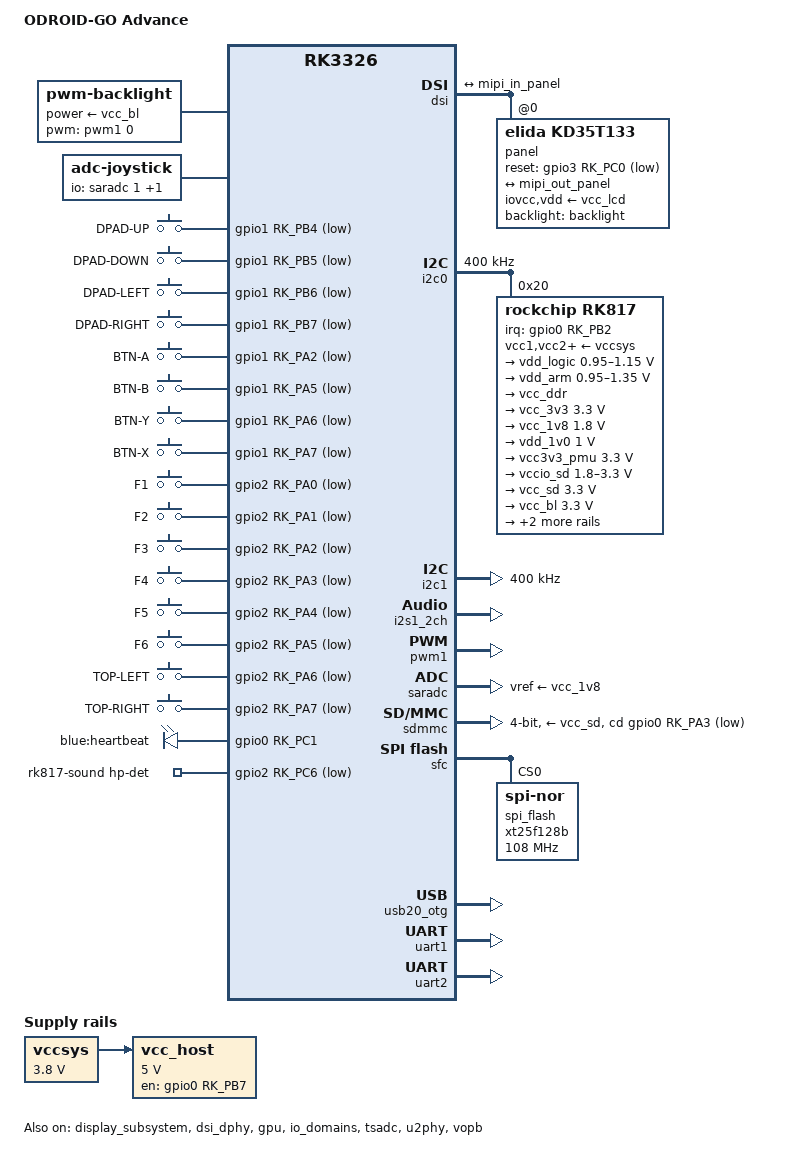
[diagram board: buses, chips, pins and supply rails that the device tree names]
// SPDX-License-Identifier: (GPL-2.0+ OR MIT)
/*
 * Copyright (c) 2019 Hardkernel Co., Ltd
 * Copyright (c) 2020 Theobroma Systems Design und Consulting GmbH
 */

/dts-v1/;
#include <dt-bindings/gpio/gpio.h>
#include <dt-bindings/input/input.h>
#include <dt-bindings/pinctrl/rockchip.h>
#include "rk3326.dtsi"

/ {
	model = "ODROID-GO Advance";
	compatible = "hardkernel,rk3326-odroid-go2", "rockchip,rk3326";

	chosen {
		stdout-path = "serial2:115200n8";
	};

	backlight: backlight {
		compatible = "pwm-backlight";
		power-supply = <&vcc_bl>;
		pwms = <&pwm1 0 25000 0>;
	};

	adc-joystick {
		compatible = "adc-joystick";
		io-channels = <&saradc 1>,
			      <&saradc 2>;
		#address-cells = <1>;
		#size-cells = <0>;

		axis@0 {
			reg = <0>;
			abs-range = <172 772>;
			abs-fuzz = <10>;
			abs-flat = <10>;
			linux,code = <ABS_X>;
		};

		axis@1 {
			reg = <1>;
			abs-range = <278 815>;
			abs-fuzz = <10>;
			abs-flat = <10>;
			linux,code = <ABS_Y>;
		};
	};

	gpio-keys {
		compatible = "gpio-keys";
		pinctrl-names = "default";
		pinctrl-0 = <&btn_pins>;

		/*
		 *      *** ODROIDGO2-Advance Switch layout ***
		 * |------------------------------------------------|
		 * | sw15                                      sw16 |
		 * |------------------------------------------------|
		 * |     sw1      |-------------------|      sw8    |
		 * |  sw3   sw4   |                   |   sw7   sw5 |
		 * |     sw2      |    LCD Display    |      sw6    |
		 * |              |                   |             |
		 * |              |-------------------|             |
		 * |         sw9 sw10   sw11 sw12   sw13 sw14       |
		 * |------------------------------------------------|
		 */

		sw1 {
			gpios = <&gpio1 RK_PB4 GPIO_ACTIVE_LOW>;
			label = "DPAD-UP";
			linux,code = <BTN_DPAD_UP>;
		};
		sw2 {
			gpios = <&gpio1 RK_PB5 GPIO_ACTIVE_LOW>;
			label = "DPAD-DOWN";
			linux,code = <BTN_DPAD_DOWN>;
		};
		sw3 {
			gpios = <&gpio1 RK_PB6 GPIO_ACTIVE_LOW>;
			label = "DPAD-LEFT";
			linux,code = <BTN_DPAD_LEFT>;
		};
		sw4 {
			gpios = <&gpio1 RK_PB7 GPIO_ACTIVE_LOW>;
			label = "DPAD-RIGHT";
			linux,code = <BTN_DPAD_RIGHT>;
		};
		sw5 {
			gpios = <&gpio1 RK_PA2 GPIO_ACTIVE_LOW>;
			label = "BTN-A";
			linux,code = <BTN_EAST>;
		};
		sw6 {
			gpios = <&gpio1 RK_PA5 GPIO_ACTIVE_LOW>;
			label = "BTN-B";
			linux,code = <BTN_SOUTH>;
		};
		sw7 {
			gpios = <&gpio1 RK_PA6 GPIO_ACTIVE_LOW>;
			label = "BTN-Y";
			linux,code = <BTN_WEST>;
		};
		sw8 {
			gpios = <&gpio1 RK_PA7 GPIO_ACTIVE_LOW>;
			label = "BTN-X";
			linux,code = <BTN_NORTH>;
		};
		sw9 {
			gpios = <&gpio2 RK_PA0 GPIO_ACTIVE_LOW>;
			label = "F1";
			linux,code = <BTN_TRIGGER_HAPPY1>;
		};
		sw10 {
			gpios = <&gpio2 RK_PA1 GPIO_ACTIVE_LOW>;
			label = "F2";
			linux,code = <BTN_TRIGGER_HAPPY2>;
		};
		sw11 {
			gpios = <&gpio2 RK_PA2 GPIO_ACTIVE_LOW>;
			label = "F3";
			linux,code = <BTN_TRIGGER_HAPPY3>;
		};
		sw12 {
			gpios = <&gpio2 RK_PA3 GPIO_ACTIVE_LOW>;
			label = "F4";
			linux,code = <BTN_TRIGGER_HAPPY4>;
		};
		sw13 {
			gpios = <&gpio2 RK_PA4 GPIO_ACTIVE_LOW>;
			label = "F5";
			linux,code = <BTN_TRIGGER_HAPPY5>;
		};
		sw14 {
			gpios = <&gpio2 RK_PA5 GPIO_ACTIVE_LOW>;
			label = "F6";
			linux,code = <BTN_TRIGGER_HAPPY6>;
		};
		sw15 {
			gpios = <&gpio2 RK_PA6 GPIO_ACTIVE_LOW>;
			label = "TOP-LEFT";
			linux,code = <BTN_TL>;
		};
		sw16 {
			gpios = <&gpio2 RK_PA7 GPIO_ACTIVE_LOW>;
			label = "TOP-RIGHT";
			linux,code = <BTN_TR>;
		};
	};

	leds: gpio-leds {
		compatible = "gpio-leds";
		pinctrl-names = "default";
		pinctrl-0 = <&blue_led_pin>;

		blue_led: led-0 {
			label = "blue:heartbeat";
			gpios = <&gpio0 RK_PC1 GPIO_ACTIVE_HIGH>;
			linux,default-trigger = "heartbeat";
		};
	};

	rk817-sound {
		compatible = "simple-audio-card";
		simple-audio-card,format = "i2s";
		simple-audio-card,name = "rockchip,rk817-codec";
		simple-audio-card,mclk-fs = <256>;
		simple-audio-card,widgets =
			"Microphone", "Mic Jack",
			"Headphone", "Headphone Jack";
		simple-audio-card,routing =
			"MIC_IN", "Mic Jack",
			"Headphone Jack", "HPOL",
			"Headphone Jack", "HPOR";
		simple-audio-card,hp-det-gpio = <&gpio2 RK_PC6 GPIO_ACTIVE_LOW>;
		simple-audio-card,codec-hp-det = <1>;

		simple-audio-card,cpu {
			sound-dai = <&i2s1_2ch>;
		};

		simple-audio-card,codec {
			sound-dai = <&rk817_codec>;
		};
	};

	vccsys: vccsys {
		compatible = "regulator-fixed";
		regulator-name = "vcc3v8_sys";
		regulator-always-on;
		regulator-min-microvolt = <3800000>;
		regulator-max-microvolt = <3800000>;
	};

	vcc_host: vcc_host {
		compatible = "regulator-fixed";
		regulator-name = "vcc_host";
		regulator-min-microvolt = <5000000>;
		regulator-max-microvolt = <5000000>;

		gpio = <&gpio0 RK_PB7 GPIO_ACTIVE_HIGH>;
		enable-active-high;
		regulator-always-on;
		vin-supply = <&vccsys>;
	};
};

&cpu0 {
	cpu-supply = <&vdd_arm>;
};

&cpu1 {
	cpu-supply = <&vdd_arm>;
};

&cpu2 {
	cpu-supply = <&vdd_arm>;
};

&cpu3 {
	cpu-supply = <&vdd_arm>;
};

&cru {
	assigned-clocks = <&cru PLL_NPLL>,
		<&cru ACLK_BUS_PRE>, <&cru ACLK_PERI_PRE>,
		<&cru HCLK_BUS_PRE>, <&cru HCLK_PERI_PRE>,
		<&cru PCLK_BUS_PRE>, <&cru SCLK_GPU>,
		<&cru PLL_CPLL>;

	assigned-clock-rates = <1188000000>,
		<200000000>, <200000000>,
		<150000000>, <150000000>,
		<100000000>, <200000000>,
		<17000000>;
};

&display_subsystem {
	status = "okay";
};

&dsi {
	status = "okay";

	ports {
		mipi_out: port@1 {
			reg = <1>;

			mipi_out_panel: endpoint {
				remote-endpoint = <&mipi_in_panel>;
			};
		};
	};

	panel@0 {
		compatible = "elida,kd35t133";
		reg = <0>;
		backlight = <&backlight>;
		iovcc-supply = <&vcc_lcd>;
		reset-gpios = <&gpio3 RK_PC0 GPIO_ACTIVE_LOW>;
		vdd-supply = <&vcc_lcd>;

		port {
			mipi_in_panel: endpoint {
				remote-endpoint = <&mipi_out_panel>;
			};
		};
	};
};

&dsi_dphy {
	status = "okay";
};

&gpu {
	mali-supply = <&vdd_logic>;
	status = "okay";
};

&i2c0 {
	clock-frequency = <400000>;
	i2c-scl-falling-time-ns = <16>;
	i2c-scl-rising-time-ns = <280>;
	status = "okay";

	rk817: pmic@20 {
		compatible = "rockchip,rk817";
		reg = <0x20>;
		interrupt-parent = <&gpio0>;
		interrupts = <RK_PB2 IRQ_TYPE_LEVEL_LOW>;
		pinctrl-names = "default", "pmic-sleep",
				"pmic-power-off", "pmic-reset";
		pinctrl-0 = <&pmic_int>;
		pinctrl-1 = <&soc_slppin_slp>, <&rk817_slppin_slp>;
		pinctrl-2 = <&soc_slppin_gpio>, <&rk817_slppin_pwrdn>;
		pinctrl-3 = <&soc_slppin_rst>, <&rk817_slppin_rst>;
		rockchip,system-power-controller;
		wakeup-source;
		#clock-cells = <1>;
		clock-output-names = "rk808-clkout1", "xin32k";

		vcc1-supply = <&vccsys>;
		vcc2-supply = <&vccsys>;
		vcc3-supply = <&vccsys>;
		vcc4-supply = <&vccsys>;
		vcc5-supply = <&vccsys>;
		vcc6-supply = <&vccsys>;
		vcc7-supply = <&vccsys>;

		pinctrl_rk8xx: pinctrl_rk8xx {
			gpio-controller;
			#gpio-cells = <2>;

			rk817_ts_gpio1: rk817_ts_gpio1 {
				pins = "gpio_ts";
				function = "pin_fun1";
				/* output-low; */
				/* input-enable; */
			};

			rk817_gt_gpio2: rk817_gt_gpio2 {
				pins = "gpio_gt";
				function = "pin_fun1";
			};

			rk817_pin_ts: rk817_pin_ts {
				pins = "gpio_ts";
				function = "pin_fun0";
			};

			rk817_pin_gt: rk817_pin_gt {
				pins = "gpio_gt";
				function = "pin_fun0";
			};

			rk817_slppin_null: rk817_slppin_null {
				pins = "gpio_slp";
				function = "pin_fun0";
			};

			rk817_slppin_slp: rk817_slppin_slp {
				pins = "gpio_slp";
				function = "pin_fun1";
			};

			rk817_slppin_pwrdn: rk817_slppin_pwrdn {
				pins = "gpio_slp";
				function = "pin_fun2";
			};

			rk817_slppin_rst: rk817_slppin_rst {
				pins = "gpio_slp";
				function = "pin_fun3";
			};
		};

		regulators {
			vdd_logic: DCDC_REG1 {
				regulator-name = "vdd_logic";
				regulator-min-microvolt = <950000>;
				regulator-max-microvolt = <1150000>;
				regulator-ramp-delay = <6001>;
				regulator-always-on;
				regulator-boot-on;

				regulator-state-mem {
					regulator-on-in-suspend;
					regulator-suspend-microvolt = <950000>;
				};
			};

			vdd_arm: DCDC_REG2 {
				regulator-name = "vdd_arm";
				regulator-min-microvolt = <950000>;
				regulator-max-microvolt = <1350000>;
				regulator-ramp-delay = <6001>;
				regulator-always-on;
				regulator-boot-on;

				regulator-state-mem {
					regulator-off-in-suspend;
					regulator-suspend-microvolt = <950000>;
				};
			};

			vcc_ddr: DCDC_REG3 {
				regulator-name = "vcc_ddr";
				regulator-always-on;
				regulator-boot-on;

				regulator-state-mem {
					regulator-on-in-suspend;
				};
			};

			vcc_3v3: DCDC_REG4 {
				regulator-name = "vcc_3v3";
				regulator-min-microvolt = <3300000>;
				regulator-max-microvolt = <3300000>;
				regulator-always-on;
				regulator-boot-on;

				regulator-state-mem {
					regulator-off-in-suspend;
					regulator-suspend-microvolt = <3300000>;
				};
			};

			vcc_1v8: LDO_REG2 {
				regulator-name = "vcc_1v8";
				regulator-min-microvolt = <1800000>;
				regulator-max-microvolt = <1800000>;
				regulator-always-on;
				regulator-boot-on;

				regulator-state-mem {
					regulator-on-in-suspend;
					regulator-suspend-microvolt = <1800000>;
				};
			};

			vdd_1v0: LDO_REG3 {
				regulator-name = "vdd_1v0";
				regulator-min-microvolt = <1000000>;
				regulator-max-microvolt = <1000000>;
				regulator-always-on;
				regulator-boot-on;

				regulator-state-mem {
					regulator-on-in-suspend;
					regulator-suspend-microvolt = <1000000>;
				};
			};

			vcc3v3_pmu: LDO_REG4 {
				regulator-name = "vcc3v3_pmu";
				regulator-min-microvolt = <3300000>;
				regulator-max-microvolt = <3300000>;
				regulator-always-on;
				regulator-boot-on;

				regulator-state-mem {
					regulator-on-in-suspend;
					regulator-suspend-microvolt = <3300000>;
				};
			};

			vccio_sd: LDO_REG5 {
				regulator-name = "vccio_sd";
				regulator-min-microvolt = <1800000>;
				regulator-max-microvolt = <3300000>;
				regulator-always-on;
				regulator-boot-on;

				regulator-state-mem {
					regulator-on-in-suspend;
					regulator-suspend-microvolt = <3300000>;
				};
			};

			vcc_sd: LDO_REG6 {
				regulator-name = "vcc_sd";
				regulator-min-microvolt = <3300000>;
				regulator-max-microvolt = <3300000>;
				regulator-boot-on;

				regulator-state-mem {
					regulator-on-in-suspend;
					regulator-suspend-microvolt = <3300000>;
				};
			};

			vcc_bl: LDO_REG7 {
				regulator-name = "vcc_bl";
				regulator-min-microvolt = <3300000>;
				regulator-max-microvolt = <3300000>;

				regulator-state-mem {
					regulator-off-in-suspend;
					regulator-suspend-microvolt = <3300000>;
				};
			};

			vcc_lcd: LDO_REG8 {
				regulator-name = "vcc_lcd";
				regulator-min-microvolt = <2800000>;
				regulator-max-microvolt = <2800000>;

				regulator-state-mem {
					regulator-off-in-suspend;
					regulator-suspend-microvolt = <2800000>;
				};
			};

			vcc_cam: LDO_REG9 {
				regulator-name = "vcc_cam";
				regulator-min-microvolt = <3000000>;
				regulator-max-microvolt = <3000000>;

				regulator-state-mem {
					regulator-off-in-suspend;
					regulator-suspend-microvolt = <3000000>;
				};
			};
		};

		battery {
			compatible = "rk817,battery";
			ocv_table = <3500 3625 3685 3697 3718 3735 3748
			3760 3774 3788 3802 3816 3834 3853
			3877 3908 3946 3975 4018 4071 4106>;

			/* KPL605475 Battery Spec */
			/*
				Capacity : 3.7V 3000mA
				Normal Voltage = 3.7V
				Cut-Off Voltage : 3.1V
				Internal Impedance : 180 mOhm
				Charging Voltage : 4.2V
				Charging Voltage Max : 4.25V
				Sample resister : 10 mohm
			*/
			design_capacity = <3000>;
			design_qmax = <3000>;
			bat_res = <180>;
			sleep_enter_current = <300>;
			sleep_exit_current = <300>;
			sleep_filter_current = <100>;
			power_off_thresd = <3500>;
			zero_algorithm_vol = <3700>;
			max_soc_offset = <60>;
			monitor_sec = <5>;
			virtual_power = <0>;
			sample_res = <10>;
		};

		charger {
			compatible = "rk817,charger";
			min_input_voltage = <4500>;
			max_input_current = <1500>;
			max_chrg_current = <2000>;
			max_chrg_voltage = <4200>;
			chrg_term_mode = <0>;
			chrg_finish_cur = <300>;
			virtual_power = <0>;
			sample_res = <10>;

			/* P.C.B rev0.2 DC Detect & Charger Status LED GPIO */
			dc_det_gpio  = <&gpio0 RK_PB3 GPIO_ACTIVE_HIGH>;
			chg_led_gpio = <&gpio0 RK_PB5 GPIO_ACTIVE_HIGH>;

			extcon = <&u2phy>;
		};

		rk817_codec: codec {
			#sound-dai-cells = <0>;
			compatible = "rockchip,rk817-codec";
			clocks = <&cru SCLK_I2S1_OUT>;
			clock-names = "mclk";
			pinctrl-names = "default";
			pinctrl-0 = <&i2s1_2ch_mclk>;
			hp-volume = <20>;
			spk-volume = <3>;
			status = "okay";
		};
	};
};

/* EXT Header(P2): 7(SCL:GPIO0.C2), 8(SDA:GPIO0.C3) */
&i2c1 {
	clock-frequency = <400000>;
	status = "okay";
};

/* I2S 1 Channel Used */
&i2s1_2ch {
	status = "okay";
};

&io_domains {
	vccio1-supply = <&vcc_3v3>;
	vccio2-supply = <&vccio_sd>;
	vccio3-supply = <&vcc_3v3>;
	vccio4-supply = <&vcc_3v3>;
	vccio5-supply = <&vcc_3v3>;
	vccio6-supply = <&vcc_3v3>;
	status = "okay";
};

&pmu_io_domains {
	pmuio1-supply = <&vcc3v3_pmu>;
	pmuio2-supply = <&vcc3v3_pmu>;
	status = "okay";
};

&pwm1 {
	status = "okay";
};

&saradc {
	vref-supply = <&vcc_1v8>;
	status = "okay";
};

&sdmmc {
	bus-width = <4>;
	cap-sd-highspeed;
	card-detect-delay = <200>;
	cd-gpios = <&gpio0 RK_PA3 GPIO_ACTIVE_LOW>; /*[> CD GPIO <]*/
	sd-uhs-sdr12;
	sd-uhs-sdr25;
	sd-uhs-sdr50;
	sd-uhs-sdr104;
	vmmc-supply = <&vcc_sd>;
	vqmmc-supply = <&vccio_sd>;
	status = "okay";
};

&sfc {
	#address-cells = <1>;
	#size-cells = <0>;
	pinctrl-names = "default";
	pinctrl-0 = <&sfc_clk &sfc_cs &sfc_bus2>;
	status = "okay";

	spi_flash: xt25f128b@0 {
		compatible = "jedec,spi-nor";
		reg = <0>;
		spi-max-frequency = <108000000>;
		spi-rx-bus-width = <2>;
		spi-tx-bus-width = <2>;
	};
};

&tsadc {
	status = "okay";
};

&u2phy {
	status = "okay";

	u2phy_host: host-port {
		status = "okay";
	};

	u2phy_otg: otg-port {
		status = "disabled";
	};
};

&usb20_otg {
	status = "okay";
};

/* EXT Header(P2): 2(RXD:GPIO1.C0),3(TXD:.C1),4(CTS:.C2),5(RTS:.C3) */
&uart1 {
	pinctrl-names = "default";
	pinctrl-0 = <&uart1_xfer &uart1_cts>;
	status = "okay";
};

&uart2 {
	pinctrl-names = "default";
	pinctrl-0 = <&uart2m1_xfer>;
	status = "okay";
};

&vopb {
	status = "okay";
};

&vopb_mmu {
	status = "okay";
};

&pinctrl {
	btns {
		btn_pins: btn-pins {
			rockchip,pins = <1 RK_PA2 RK_FUNC_GPIO &pcfg_pull_up>,
					<1 RK_PA5 RK_FUNC_GPIO &pcfg_pull_up>,
					<1 RK_PA6 RK_FUNC_GPIO &pcfg_pull_up>,
					<1 RK_PA7 RK_FUNC_GPIO &pcfg_pull_up>,
					<1 RK_PB4 RK_FUNC_GPIO &pcfg_pull_up>,
					<1 RK_PB5 RK_FUNC_GPIO &pcfg_pull_up>,
					<1 RK_PB6 RK_FUNC_GPIO &pcfg_pull_up>,
					<1 RK_PB7 RK_FUNC_GPIO &pcfg_pull_up>,
					<2 RK_PA0 RK_FUNC_GPIO &pcfg_pull_up>,
					<2 RK_PA1 RK_FUNC_GPIO &pcfg_pull_up>,
					<2 RK_PA2 RK_FUNC_GPIO &pcfg_pull_up>,
					<2 RK_PA3 RK_FUNC_GPIO &pcfg_pull_up>,
					<2 RK_PA4 RK_FUNC_GPIO &pcfg_pull_up>,
					<2 RK_PA5 RK_FUNC_GPIO &pcfg_pull_up>,
					<2 RK_PA6 RK_FUNC_GPIO &pcfg_pull_up>,
					<2 RK_PA7 RK_FUNC_GPIO &pcfg_pull_up>;
		};
	};

	headphone {
		hp_det: hp-det {
			rockchip,pins = <2 RK_PC6 RK_FUNC_GPIO &pcfg_pull_down>;
		};
	};

	leds {
		blue_led_pin: blue-led-pin {
			rockchip,pins = <0 RK_PC1 RK_FUNC_GPIO &pcfg_pull_none>;
		};
	};

	pmic {
		dc_det: dc-det {
			rockchip,pins = <0 RK_PB3 RK_FUNC_GPIO &pcfg_pull_none>;
		};

		pmic_int: pmic-int {
			rockchip,pins = <0 RK_PB2 RK_FUNC_GPIO &pcfg_pull_up>;
		};

		soc_slppin_gpio: soc_slppin_gpio {
			rockchip,pins = <0 RK_PA4 RK_FUNC_GPIO &pcfg_output_low>;
		};

		soc_slppin_rst: soc_slppin_rst {
			rockchip,pins = <0 RK_PA4 2 &pcfg_pull_none>;
		};

		soc_slppin_slp: soc_slppin_slp {
			rockchip,pins = <0 RK_PA4 1 &pcfg_pull_none>;
		};
	};
};
